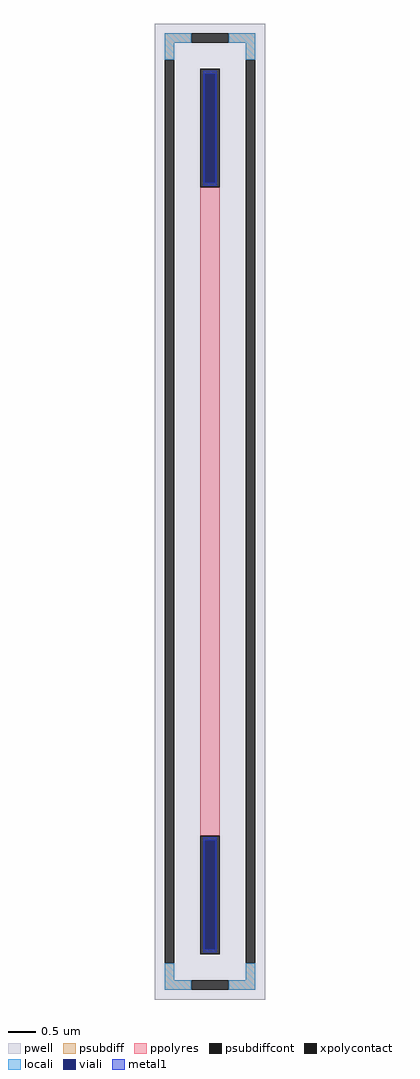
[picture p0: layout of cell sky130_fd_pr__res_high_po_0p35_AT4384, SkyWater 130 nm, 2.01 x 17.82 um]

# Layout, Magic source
magic
tech sky130A
magscale 1 2
<< pwell >>
rect -201 -1782 201 1782
<< psubdiff >>
rect -165 1712 -69 1746
rect 69 1712 165 1746
rect -165 1650 -131 1712
rect 131 1650 165 1712
rect -165 -1712 -131 -1650
rect 131 -1712 165 -1650
rect -165 -1746 -69 -1712
rect 69 -1746 165 -1712
<< psubdiffcont >>
rect -69 1712 69 1746
rect -165 -1650 -131 1650
rect 131 -1650 165 1650
rect -69 -1746 69 -1712
<< xpolycontact >>
rect -35 1184 35 1616
rect -35 -1616 35 -1184
<< ppolyres >>
rect -35 -1184 35 1184
<< locali >>
rect -165 1712 -69 1746
rect 69 1712 165 1746
rect -165 1650 -131 1712
rect 131 1650 165 1712
rect -165 -1712 -131 -1650
rect 131 -1712 165 -1650
rect -165 -1746 -69 -1712
rect 69 -1746 165 -1712
<< viali >>
rect -19 1201 19 1598
rect -19 -1598 19 -1201
<< metal1 >>
rect -25 1598 25 1610
rect -25 1201 -19 1598
rect 19 1201 25 1598
rect -25 1189 25 1201
rect -25 -1201 25 -1189
rect -25 -1598 -19 -1201
rect 19 -1598 25 -1201
rect -25 -1610 25 -1598
<< properties >>
string FIXED_BBOX -148 -1729 148 1729
string gencell sky130_fd_pr__res_high_po_0p35
string library sky130
string parameters w 0.350 l 12.0 m 1 nx 1 wmin 0.350 lmin 0.50 rho 319.8 val 12.077k dummy 0 dw 0.0 term 194.82 sterm 0.0 caplen 0 guard 1 glc 1 grc 1 gtc 1 gbc 1 compatible {sky130_fd_pr__res_high_po_0p35  sky130_fd_pr__res_high_po_0p69 sky130_fd_pr__res_high_po_1p41  sky130_fd_pr__res_high_po_2p85 sky130_fd_pr__res_high_po_5p73} snake 0 full_metal 1 wmax 0.350 vias 1 n_guard 0 hv_guard 0 viagb 0 viagt 0 viagl 0 viagr 0
<< end >>
